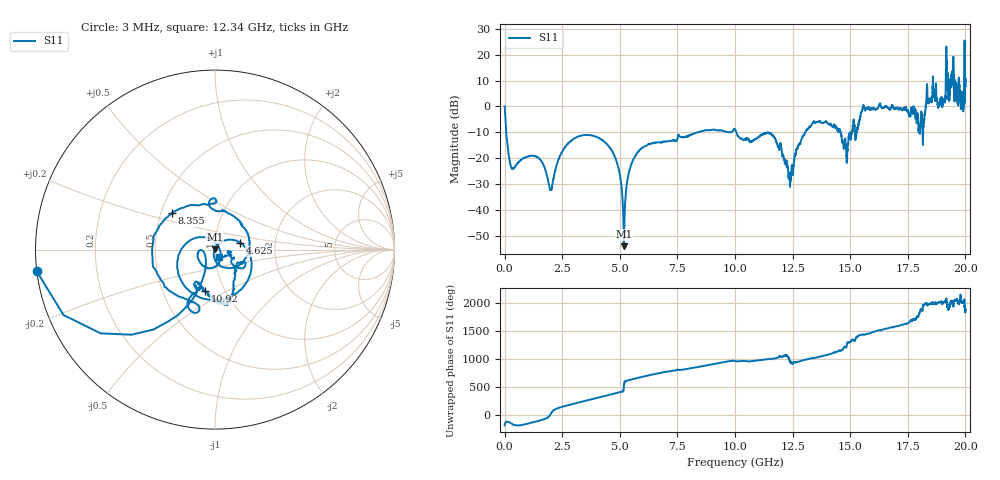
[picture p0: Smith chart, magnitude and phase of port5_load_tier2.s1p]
! Created with skrf 1.8.0 (http://scikit-rf.org).
# GHz S RI R 50.0
!freq ReS11 ImS11
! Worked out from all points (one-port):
!   10001 points, 1 MHz to 20 GHz, reference 50 ohm
!   lowest |S11| = -53.9 dB at 5.177 GHz (marker M1), VSWR 1.00, Z = 49.8 + j0.097 ohm
!   |S11| at or under -10 dB: 70.08 MHz to 8.379 GHz (8.309 GHz wide, 197 % of centre); 10.06 GHz to 11.43 GHz (1.366 GHz wide, 12.7 % of centre); 11.44 GHz to 13.05 GHz (1.615 GHz wide, 13.2 % of centre) (the widest 3 of 12)
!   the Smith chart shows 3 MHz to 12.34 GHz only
!   S11 on the Smith chart (normalised r, x): 3 MHz: -0.00, -0.06; 4.625 GHz: 1.33, +0.10; 8.355 GHz: 0.57, +0.26; 10.92 GHz: 0.81, -0.40; 12.34 GHz: 1.04, -0.09
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0.001  -1.003 -0.0425
0.0029999  -0.9928 -0.1215
0.3489826  -0.0578 -0.0247
2.500875  -0.1205 0.0602
4.624769  0.1417 0.0374
5.00075  0.0296 0.0389
5.176741  -0.00176 0.000974
5.790711  0.0817 -0.1038
7.500625  -0.0243 0.2345
8.354582  -0.2385 0.2031
10.0005  -0.1388 -0.338
10.92445  -0.0571 -0.2319
12.33838  0.0229 -0.0411
12.50038  -0.0583 -0.0241
15.00025  -0.2163 -0.1818
15.62422  0.8608 -0.0961
16.32618  0.261 1
17.50013  -0.754 -0.2992
17.76211  -0.0753 -0.7986
18.12609  0.1292 0.4821
18.63807  -1.698 -0.5243
19.03805  -1.129 -0.6221
19.11404  -1.079 -0.6475
19.28404  -0.3434 1.362
19.47203  -2.64 -2.435
19.59402  -0.5283 -1.855
19.86201  -1.188 -0.6227
20  1.092 3.234
